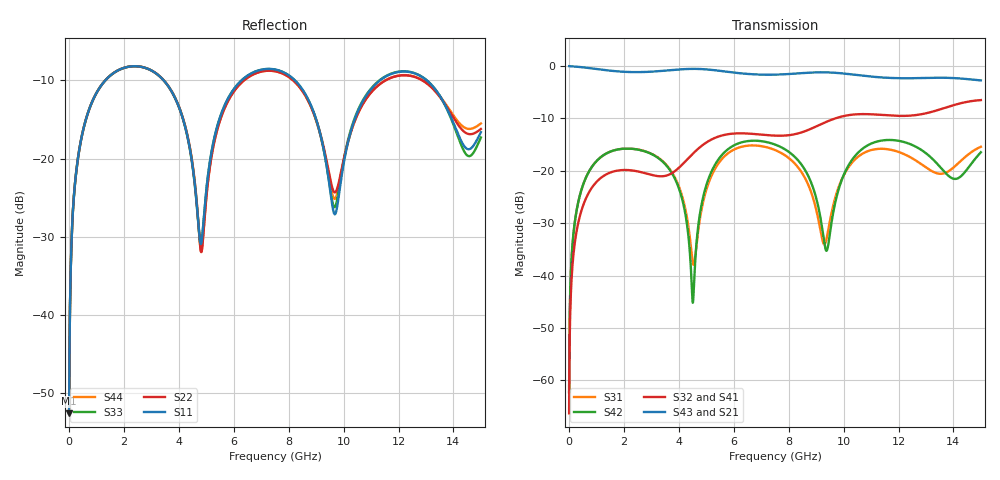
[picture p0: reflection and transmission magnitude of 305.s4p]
! Created with skrf 1.8.0 (http://scikit-rf.org).
# GHz S RI R 50.0
!freq ReS11 ImS11 ReS12 ImS12 ReS13 ImS13
! ReS14 ImS14
! ReS21 ImS21 ReS22 ImS22 ReS23 ImS23
! ReS24 ImS24
! ReS31 ImS31 ReS32 ImS32 ReS33 ImS33
! ReS34 ImS34
! ReS41 ImS41 ReS42 ImS42 ReS43 ImS43
! ReS44 ImS44
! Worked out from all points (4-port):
!   2499 points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, 5 MHz to 15 GHz, reference 50 ohm
!   strongest paths, dB at 5 MHz, 3.476 GHz, 7.19 GHz, 11.1 GHz, 15 GHz:
!     S43: 0.0, -0.9, -1.6, -2.0, -2.7
!     S21: 0.0, -0.9, -1.7, -2.0, -2.7
!     S32: -66.3, -21.0, -13.2, -9.2, -6.5
!     S41: -66.3, -21.0, -13.2, -9.2, -6.5
!     S42: -62.3, -18.6, -14.5, -14.6, -16.5
!     S31: -62.3, -18.5, -15.5, -15.9, -15.4
!   lowest |S11| = -52.6 dB at 5 MHz (marker M1), VSWR 1.00, Z = 50.2 + j0.141 ohm
!   |S11| at or under -10 dB: 3.452 GHz to 6.281 GHz (2.829 GHz wide, 58.1 % of centre); 8.232 GHz to 11.32 GHz (3.092 GHz wide, 31.6 % of centre); 13.03 GHz to end of sweep (the widest 3 of 4)
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0.005  0.00186 0.00141  0.9981 -0.00362  9.5e-05 0.000762  -9.21e-05 -0.000474
       0.9981 -0.00362  0.00186 0.00141  -9.21e-05 -0.000474  9.5e-05 0.000762
       9.5e-05 0.000762  -9.21e-05 -0.000474  0.00186 0.00141  0.9981 -0.00362
       -9.21e-05 -0.000474  9.5e-05 0.000762  0.9981 -0.00362  0.00186 0.00141
0.3126303  0.0298 0.0916  0.9592 -0.2239  0.0143 0.0445  -0.0118 -0.0272
           0.9592 -0.2239  0.0298 0.0916  -0.0118 -0.0272  0.0143 0.0445
           0.0143 0.0445  -0.0118 -0.0272  0.0298 0.0916  0.9592 -0.2239
           -0.0118 -0.0272  0.0143 0.0445  0.9592 -0.2239  0.0298 0.0916
1.419341  0.2812 0.1719  0.5236 -0.7429  0.1364 0.0602  -0.0941 -0.0017
          0.5236 -0.7429  0.2812 0.1719  -0.0942 -0.00164  0.1362 0.0605
          0.1364 0.0602  -0.0942 -0.00164  0.2811 0.1719  0.5236 -0.7429
          -0.0941 -0.0017  0.1362 0.0605  0.5236 -0.7429  0.2812 0.1719
4.508128  0.0426 -0.0767  -0.902 -0.2665  -0.0123 -0.00537  -0.037 0.1407
          -0.902 -0.2665  0.0408 -0.0801  -0.0362 0.1409  0.00548 -0.00032
          -0.0123 -0.00537  -0.0362 0.1409  0.0424 -0.076  -0.9021 -0.2665
          -0.037 0.1407  0.00548 -0.00032  -0.9021 -0.2665  0.0406 -0.0794
5.902459  0.201 0.1676  -0.6968 0.5269  0.1303 0.0818  0.1695 0.1484
          -0.6968 0.5269  0.1891 0.1669  0.1706 0.1476  0.1559 0.064
          0.1303 0.0818  0.1706 0.1476  0.2005 0.1683  -0.6969 0.5266
          0.1695 0.1484  0.1559 0.064  -0.6969 0.5266  0.19 0.167
9.760317  0.0456 0.0165  0.8565 0.0825  0.00785 0.0624  0.0229 -0.3199
          0.8565 0.0825  0.0619 0.0151  0.0183 -0.3199  0.0178 0.0557
          0.00785 0.0624  0.0183 -0.3199  0.0507 0.0187  0.8564 0.0833
          0.0229 -0.3199  0.0178 0.0557  0.8564 0.0833  0.0564 0.0171
15  0.137 0.054  -0.7287 0.0442  0.0251 0.1678  0.0488 0.4683
    -0.7287 0.0442  0.1536 0.0177  0.0562 0.47  0.0769 0.1293
    0.0251 0.1678  0.0562 0.47  0.1249 0.0546  -0.7287 0.0394
    0.0488 0.4683  0.0769 0.1293  -0.7287 0.0394  0.1663 0.0203
